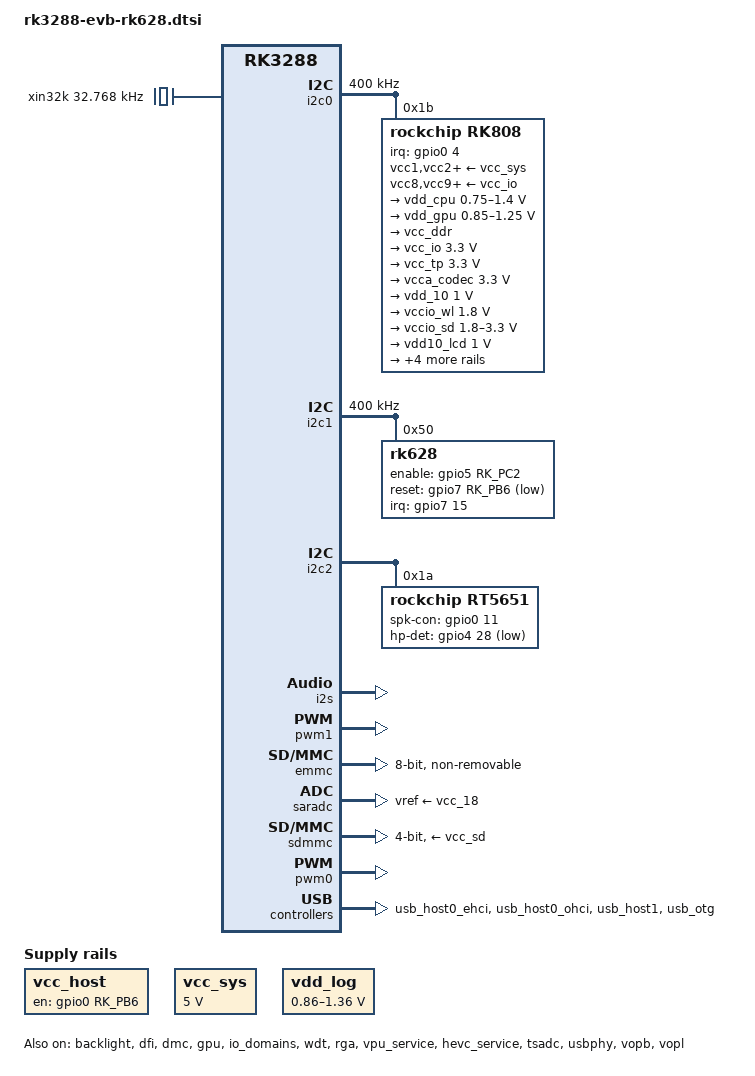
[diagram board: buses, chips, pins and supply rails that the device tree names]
// SPDX-License-Identifier: (GPL-2.0+ OR MIT)
// Copyright (c) 2020 Fuzhou Rockchip Electronics Co., Ltd

#include <dt-bindings/pwm/pwm.h>
#include <dt-bindings/input/input.h>
#include "rk3288.dtsi"
#include "rk3288-android.dtsi"

/ {
	i2s_mclkin: i2s-mclkin {
		compatible = "fixed-factor-clock";
		#clock-cells = <0>;
		clocks = <&cru SCLK_I2S0_OUT>;
		clock-mult = <1>;
		clock-div = <1>;
		clock-output-names = "i2s_mclkin";
	};

	sound: sound {
		compatible = "simple-audio-card";
		simple-audio-card,format = "i2s";
		simple-audio-card,name = "realtek,rt5651-codec";
		simple-audio-card,mclk-fs = <256>;
		simple-audio-card,widgets =
			"Microphone", "Microphone Jack",
			"Headphone", "Headphone Jack";
		simple-audio-card,routing =
			"MIC1", "Microphone Jack",
			"MIC2", "Microphone Jack",
			"Microphone Jack", "micbias1",
			"Headphone Jack", "HPOL",
			"Headphone Jack", "HPOR";
		status = "disabled";

		simple-audio-card,dai-link@0 {
			format = "i2s";
			cpu {
				sound-dai = <&i2s>;
			};

			codec {
				sound-dai = <&rt5651>;
			};
		};

		simple-audio-card,dai-link@1 {
			format = "i2s";
			cpu {
				sound-dai = <&i2s>;
			};

			codec {
				sound-dai = <&rk628_hdmi>;
			};
		};
	};

	vcc_host: vcc-host-regulator {
		compatible = "regulator-fixed";
		enable-active-high;
		gpio = <&gpio0 RK_PB6 GPIO_ACTIVE_HIGH>;
		pinctrl-names = "default";
		pinctrl-0 = <&host_vbus_drv>;
		regulator-name = "vcc_host";
		regulator-always-on;
		regulator-boot-on;
	};

	vcc_sys: vsys-regulator {
		compatible = "regulator-fixed";
		regulator-name = "vcc_sys";
		regulator-min-microvolt = <5000000>;
		regulator-max-microvolt = <5000000>;
		regulator-always-on;
		regulator-boot-on;
	};

	vdd_log: vdd-logic {
		compatible = "pwm-regulator";
		rockchip,pwm_id = <1>;
		rockchip,pwm_voltage = <1100000>;
		pwms = <&pwm1 0 25000 1>;
		regulator-name = "vcc_log";
		regulator-min-microvolt = <860000>;
		regulator-max-microvolt = <1360000>;
		regulator-always-on;
		regulator-boot-on;
	};

	xin32k: xin32k {
		compatible = "fixed-clock";
		clock-frequency = <32768>;
		clock-output-names = "xin32k";
		#clock-cells = <0>;
	};
};

&backlight {
	/delete-property/ enable-gpios;
};

&cpu0 {
	cpu-supply = <&vdd_cpu>;
};

&dfi {
	status = "okay";
};

&dmc {
	center-supply = <&vdd_log>;
	status = "okay";
};

&gpu {
	mali-supply = <&vdd_gpu>;
	status = "okay";
};

&i2c0 {
	clock-frequency = <400000>;
	status = "okay";

	rk808: pmic@1b {
		compatible = "rockchip,rk808";
		reg = <0x1b>;
		interrupt-parent = <&gpio0>;
		interrupts = <4 IRQ_TYPE_LEVEL_LOW>;
		pinctrl-names = "default";
		pinctrl-0 = <&pmic_int &global_pwroff>;
		rockchip,system-power-controller;
		wakeup-source;
		#clock-cells = <1>;
		clock-output-names = "rk808-clkout1", "rk808-clkout2";
		vcc1-supply = <&vcc_sys>;
		vcc2-supply = <&vcc_sys>;
		vcc3-supply = <&vcc_sys>;
		vcc4-supply = <&vcc_sys>;
		vcc6-supply = <&vcc_sys>;
		vcc8-supply = <&vcc_io>;
		vcc9-supply = <&vcc_io>;
		vcc12-supply = <&vcc_io>;
		vddio-supply = <&vcc_io>;

		regulators {
			vdd_cpu: DCDC_REG1 {
				regulator-always-on;
				regulator-boot-on;
				regulator-min-microvolt = <750000>;
				regulator-max-microvolt = <1400000>;
				regulator-name = "vdd_arm";

				regulator-state-mem {
					regulator-off-in-suspend;
				};
			};

			vdd_gpu: DCDC_REG2 {
				regulator-always-on;
				regulator-boot-on;
				regulator-min-microvolt = <850000>;
				regulator-max-microvolt = <1250000>;
				regulator-name = "vdd_gpu";
				regulator-ramp-delay = <6000>;

				regulator-state-mem {
					regulator-off-in-suspend;
				};
			};

			vcc_ddr: DCDC_REG3 {
				regulator-always-on;
				regulator-boot-on;
				regulator-name = "vcc_ddr";

				regulator-state-mem {
					regulator-on-in-suspend;
				};
			};

			vcc_io: DCDC_REG4 {
				regulator-always-on;
				regulator-boot-on;
				regulator-min-microvolt = <3300000>;
				regulator-max-microvolt = <3300000>;
				regulator-name = "vcc_io";

				regulator-state-mem {
					regulator-on-in-suspend;
					regulator-suspend-microvolt = <3300000>;
				};
			};

			vcc_tp: LDO_REG1 {
				regulator-always-on;
				regulator-boot-on;
				regulator-min-microvolt = <3300000>;
				regulator-max-microvolt = <3300000>;
				regulator-name = "vcc_tp";

				regulator-state-mem {
					regulator-off-in-suspend;
				};
			};

			vcca_codec: LDO_REG2 {
				regulator-always-on;
				regulator-boot-on;
				regulator-min-microvolt = <3300000>;
				regulator-max-microvolt = <3300000>;
				regulator-name = "vcca_codec";

				regulator-state-mem {
					regulator-on-in-suspend;
					regulator-suspend-microvolt = <3300000>;
				};
			};

			vdd_10: LDO_REG3 {
				regulator-always-on;
				regulator-boot-on;
				regulator-min-microvolt = <1000000>;
				regulator-max-microvolt = <1000000>;
				regulator-name = "vdd_10";

				regulator-state-mem {
					regulator-on-in-suspend;
					regulator-suspend-microvolt = <1000000>;
				};
			};

			vccio_wl: LDO_REG4 {
				regulator-always-on;
				regulator-boot-on;
				regulator-min-microvolt = <1800000>;
				regulator-max-microvolt = <1800000>;
				regulator-name = "vccio_wl";

				regulator-state-mem {
					regulator-on-in-suspend;
				};
			};

			vccio_sd: LDO_REG5 {
				regulator-always-on;
				regulator-boot-on;
				regulator-min-microvolt = <1800000>;
				regulator-max-microvolt = <3300000>;
				regulator-name = "vccio_sd";

				regulator-state-mem {
					regulator-off-in-suspend;
				};
			};

			vdd10_lcd: LDO_REG6 {
				regulator-always-on;
				regulator-boot-on;
				regulator-min-microvolt = <1000000>;
				regulator-max-microvolt = <1000000>;
				regulator-name = "vdd10_lcd";

				regulator-state-mem {
					regulator-off-in-suspend;
				};
			};

			vcc_18: LDO_REG7 {
				regulator-always-on;
				regulator-boot-on;
				regulator-min-microvolt = <1800000>;
				regulator-max-microvolt = <1800000>;
				regulator-name = "vcc_18";

				regulator-state-mem {
					regulator-on-in-suspend;
					regulator-suspend-microvolt = <1800000>;
				};
			};

			vcc18_lcd: LDO_REG8 {
				regulator-always-on;
				regulator-boot-on;
				regulator-min-microvolt = <1800000>;
				regulator-max-microvolt = <1800000>;
				regulator-name = "vcc18_lcd";

				regulator-state-mem {
					regulator-off-in-suspend;
				};
			};

			vcc_sd: SWITCH_REG1 {
				regulator-always-on;
				regulator-boot-on;
				regulator-name = "vcc_sd";

				regulator-state-mem {
					regulator-off-in-suspend;
				};
			};

			vcc_lcd: SWITCH_REG2 {
				regulator-always-on;
				regulator-boot-on;
				regulator-name = "vcc_lcd";

				regulator-state-mem {
					regulator-off-in-suspend;
				};
			};
		};
	};
};

&i2c1 {
	clock-frequency = <400000>;
	status = "okay";

	rk628: rk628@50 {
		reg = <0x50>;
		interrupt-parent = <&gpio7>;
		interrupts = <15 IRQ_TYPE_LEVEL_HIGH>;
		enable-gpios = <&gpio5 RK_PC2 GPIO_ACTIVE_HIGH>;
		reset-gpios = <&gpio7 RK_PB6 GPIO_ACTIVE_LOW>;
		status = "okay";
	};
};

&i2c2 {
	status = "okay";

	rt5651: rt5651@1a {
		compatible = "rockchip,rt5651";
		reg = <0x1a>;
		clocks = <&cru SCLK_I2S0_OUT>;
		clock-names = "mclk";
		pinctrl-names = "default";
		pinctrl-0 = <&i2s0_mclk>;
		spk-con-gpio = <&gpio0 11 GPIO_ACTIVE_HIGH>;
		hp-det-gpio = <&gpio4 28 GPIO_ACTIVE_LOW>;
		#sound-dai-cells = <0>;
	};
};

&i2s {
	#sound-dai-cells = <0>;
	status = "okay";
};

#include "rk628.dtsi"

&io_domains {
	audio-supply = <&vcc_io>;
	bb-supply = <&vcc_io>;
	dvp-supply = <&vcc_io>;
	flash0-supply = <&vcc_18>;
	gpio30-supply = <&vcc_io>;
	gpio1830 = <&vcc_io>;
	lcdc-supply = <&vcc_lcd>;
	sdcard-supply = <&vccio_sd>;
	wifi-supply = <&vccio_wl>;
	status = "okay";
};

&rockchip_suspend {
	rockchip,pwm-regulator-config = <
	(0
	| PWM1_REGULATOR_EN
	)
	>;
	status = "okay";
};

&pwm1 {
	pinctrl-names = "active";
	pinctrl-0 = <&pwm1_pin_pull_down>;
	status = "okay";
};

&emmc {
	bus-width = <8>;
	cap-mmc-highspeed;
	disable-wp;
	non-removable;
	num-slots = <1>;
	pinctrl-names = "default";
	pinctrl-0 = <&emmc_clk &emmc_cmd &emmc_pwr &emmc_bus8>;
	max-frequency = <100000000>;
	mmc-hs200-1_8v;
	mmc-ddr-1_8v;
	status = "okay";
};

&saradc {
	vref-supply = <&vcc_18>;
	status = "okay";
};

&sdmmc {
	supports-sd;
	bus-width = <4>;
	cap-mmc-highspeed;
	sd-uhs-sdr12;
	sd-uhs-sdr25;
	sd-uhs-sdr50;
	sd-uhs-sdr104;
	cap-sd-highspeed;
	card-detect-delay = <200>;
	disable-wp;			/* wp not hooked up */
	num-slots = <1>;
	pinctrl-names = "default";
	pinctrl-0 = <&sdmmc_clk &sdmmc_cmd &sdmmc_cd &sdmmc_bus4>;
	vmmc-supply = <&vcc_sd>;
	vqmmc-supply = <&vccio_sd>;
	supports-sd;
	status = "okay";
};

&wdt {
	status = "okay";
};

&pwm0 {
	status = "okay";
};

&backlight {
	status = "okay";
};

&rga {
	status = "okay";
};

&vpu_service {
	status = "okay";
};

&hevc_service {
	status = "okay";
};

&tsadc {
	rockchip,hw-tshut-polarity = <0>;
	status = "okay";
};

&usbphy {
	status = "okay";
};

&usb_host0_ehci {
	rockchip-relinquish-port;
	status = "okay";
};

&usb_host0_ohci {
	status = "okay";
};

&usb_host1 {
	status = "okay";
};

&usb_otg {
	status = "okay";
};

&vopb {
	status = "okay";
};

&vopb_mmu {
	status = "okay";
};

&vopl {
	status = "okay";
};

&vopl_mmu {
	status = "okay";
};

&pinctrl {
	pcfg_pull_none_drv_8ma: pcfg-pull-none-drv-8ma {
		drive-strength = <8>;
	};

	pcfg_pull_up_drv_8ma: pcfg-pull-up-drv-8ma {
		bias-pull-up;
		drive-strength = <8>;
	};

	pmic {
		pmic_int: pmic-int {
			rockchip,pins = <RK_GPIO0 4 RK_FUNC_GPIO &pcfg_pull_up>;
		};
	};

	sdmmc {
		/*
		 * Default drive strength isn't enough to achieve even
		 * high-speed mode on EVB board so bump up to 8ma.
		 */
		sdmmc_bus4: sdmmc-bus4 {
			rockchip,pins = <6 16 RK_FUNC_1 &pcfg_pull_up_drv_8ma>,
					<6 17 RK_FUNC_1 &pcfg_pull_up_drv_8ma>,
					<6 18 RK_FUNC_1 &pcfg_pull_up_drv_8ma>,
					<6 19 RK_FUNC_1 &pcfg_pull_up_drv_8ma>;
		};

		sdmmc_clk: sdmmc-clk {
			rockchip,pins = <6 20 RK_FUNC_1 &pcfg_pull_none_drv_8ma>;
		};

		sdmmc_cmd: sdmmc-cmd {
			rockchip,pins = <6 21 RK_FUNC_1 &pcfg_pull_up_drv_8ma>;
		};

		sdmmc_pwr: sdmmc-pwr {
			rockchip,pins = <7 11 RK_FUNC_GPIO &pcfg_pull_none>;
		};
	};

	usb {
		host_vbus_drv: host-vbus-drv {
			rockchip,pins = <0 14 RK_FUNC_GPIO &pcfg_pull_none>;
		};
	};
};
